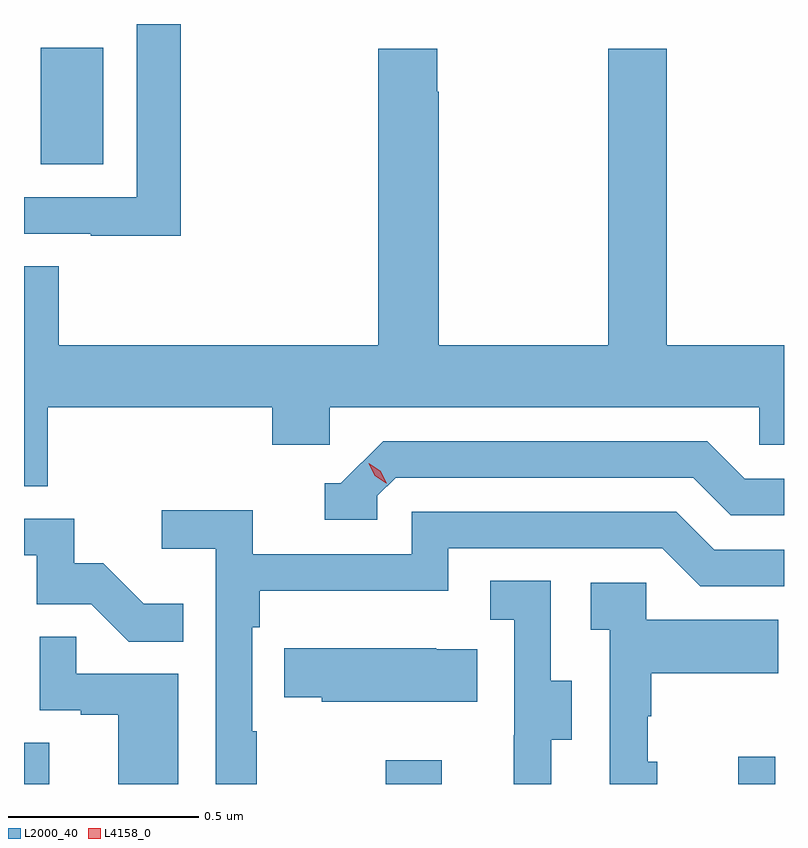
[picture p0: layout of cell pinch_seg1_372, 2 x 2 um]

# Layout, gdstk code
import gdstk
lib = gdstk.Library(unit=1e-6, precision=1e-09)
def R(c, l, rs):  # rectangles x0, y0, x1, y1
    for r in rs: c.add(gdstk.rectangle(r[:2], r[2:], *l))
def P(c, l, *ps):  # polygons
    for p in ps: c.add(gdstk.Polygon(p, *l))
L2000_40 = (2000, 40)
L4158_0 = (4158, 0)

pinch_seg1_372 = lib.new_cell('pinch_seg1_372')
R(pinch_seg1_372, L2000_40, [(950.088,532.093,950.155,532.202), (951.04,532.093,951.187,532.156), (951.968,532.093,952.065,532.165), (950.132,533.724,950.296,534.031)])
P(pinch_seg1_372, L2000_40, [(950.501,534.093),(950.385,534.093),(950.385,533.637),(950.088,533.637),(950.088,533.541),(950.263,533.541),(950.263,533.536),(950.501,533.536)],
  [(950.15,533.084),(950.741,533.084),(950.741,532.986),(950.892,532.986),(950.892,533.084),(952.023,533.084),(952.023,532.986),(952.088,532.986),(952.088,533.248),(951.78,533.248),(951.78,534.028),(951.625,534.028),(951.625,533.248),(951.18,533.248),(951.18,533.915),(951.175,533.915),(951.175,534.028),(951.02,534.028),(951.02,533.248),(950.18,533.248),(950.18,533.456),(950.088,533.456),(950.088,532.876),(950.15,532.876)],
  [(951.018,532.851),(951.066,532.899),(951.849,532.899),(951.948,532.8),(952.088,532.8),(952.088,532.896),(951.985,532.896),(951.886,532.995),(951.033,532.995),(950.922,532.884),(950.879,532.884),(950.879,532.788),(951.018,532.788)],
  [(950.701,532.232),(950.688,532.232),(950.688,532.505),(950.708,532.505),(950.708,532.601),(951.204,532.601),(951.204,532.713),(951.768,532.713),(951.867,532.614),(952.088,532.614),(952.088,532.71),(951.904,532.71),(951.805,532.809),(951.108,532.809),(951.108,532.698),(950.69,532.698),(950.69,532.814),(950.451,532.814),(950.451,532.712),(950.592,532.712),(950.592,532.093),(950.701,532.093)],
  [(950.507,532.567),(950.403,532.567),(950.296,532.674),(950.22,532.674),(950.22,532.791),(950.088,532.791),(950.088,532.695),(950.121,532.695),(950.121,532.566),(950.265,532.566),(950.363,532.468),(950.507,532.468)],
  [(951.475,532.21),(951.529,532.21),(951.529,532.365),(951.474,532.365),(951.474,532.628),(951.315,532.628),(951.315,532.525),(951.378,532.525),(951.378,532.221),(951.377,532.221),(951.377,532.093),(951.475,532.093)],
  [(951.754,532.152),(951.729,532.152),(951.729,532.271),(951.739,532.271),(951.739,532.385),(952.073,532.385),(952.073,532.525),(951.726,532.525),(951.726,532.623),(951.579,532.623),(951.579,532.499),(951.63,532.499),(951.63,532.093),(951.754,532.093)],
  [(950.494,532.383),(950.225,532.383),(950.225,532.481),(950.13,532.481),(950.13,532.287),(950.237,532.287),(950.237,532.275),(950.336,532.275),(950.336,532.093),(950.494,532.093)],
  [(951.281,532.447),(951.173,532.447),(951.173,532.45),(950.773,532.45),(950.773,532.321),(950.871,532.321),(950.871,532.31),(951.281,532.31)])
P(pinch_seg1_372, L4158_0, [(951.041,532.885),(951.011,532.904),(950.995,532.937),(950.995,532.937),(950.995,532.937),(951.026,532.918),(951.042,532.885),(951.042,532.885)])

lib.write_gds('pinch_seg1_372.gds')
